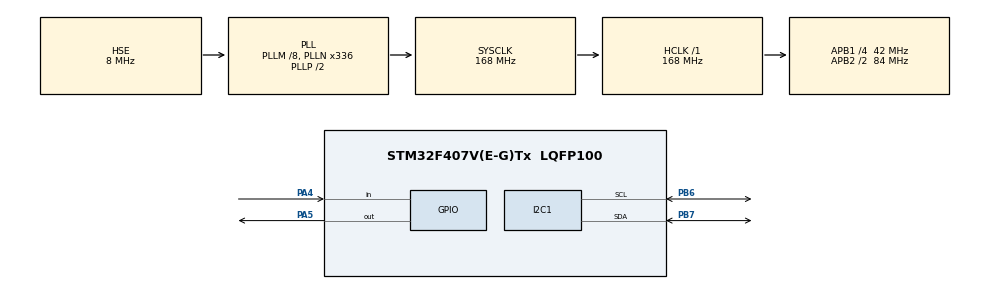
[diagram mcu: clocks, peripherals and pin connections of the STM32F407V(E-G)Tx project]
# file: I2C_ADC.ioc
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I2C1.I2C_Mode=I2C_Fast
Mcu.Family=STM32F4
Mcu.Name=STM32F407V(E-G)Tx
Mcu.Package=LQFP100
NVIC.PriorityGroup=NVIC_PRIORITYGROUP_0
PA13.Mode=Serial_Wire
PA13.Signal=SYS_JTMS-SWDIO
PA14.Mode=Serial_Wire
PA14.Signal=SYS_JTCK-SWCLK
PA4.Signal=GPIO_Input
PA5.Signal=GPIO_Output
PB6.Mode=I2C
PB6.Signal=I2C1_SCL
PB7.Mode=I2C
PB7.Signal=I2C1_SDA
PH0-OSC_IN.Mode=HSE-External-Oscillator
PH0-OSC_IN.Signal=RCC_OSC_IN
PH1-OSC_OUT.Mode=HSE-External-Oscillator
PH1-OSC_OUT.Signal=RCC_OSC_OUT
ProjectManager.HeapSize=0x200
ProjectManager.StackSize=0x400
ProjectManager.TargetToolchain=STM32CubeIDE
RCC.48MHZClocksFreq_Value=48000000
RCC.AHBFreq_Value=168000000
RCC.APB1CLKDivider=RCC_HCLK_DIV4
RCC.APB1Freq_Value=42000000
RCC.APB1TimFreq_Value=84000000
RCC.APB2CLKDivider=RCC_HCLK_DIV2
RCC.APB2Freq_Value=84000000
RCC.APB2TimFreq_Value=168000000
RCC.CortexFreq_Value=168000000
RCC.HCLKFreq_Value=168000000
RCC.HSE_VALUE=8000000
RCC.HSI_VALUE=16000000
RCC.LSE_VALUE=32768
RCC.PLLM=8
RCC.PLLN=336
RCC.PLLQ=7
RCC.PLLSourceVirtual=RCC_PLLSOURCE_HSE
RCC.SYSCLKFreq_VALUE=168000000
RCC.SYSCLKSource=RCC_SYSCLKSOURCE_PLLCLK
RCC.VCOOutputFreq_Value=336000000
board=STM32F407G-DISC1

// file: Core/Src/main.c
/* USER CODE BEGIN Header */
/**
  ******************************************************************************
  * @file           : main.c
  * @brief          : Main program body
  ******************************************************************************
  * @attention
  *
  * Copyright (c) 2023 STMicroelectronics.
  * All rights reserved.
  *
  * This software is licensed under terms that can be found in the LICENSE file
  * in the root directory of this software component.
  * If no LICENSE file comes with this software, it is provided AS-IS.
  *
  ******************************************************************************
  */
/* USER CODE END Header */
#include "main.h"

/* USER CODE BEGIN Includes */
#include "ssd1306.h"
#include "fonts.h"
#include "test.h"
/* USER CODE END Includes */

I2C_HandleTypeDef hi2c1;

/* USER CODE BEGIN PV */
uint16_t distance=0;
char string[25];

/* USER CODE END PV */

void SystemClock_Config(void);
static void MX_GPIO_Init(void);
static void MX_I2C1_Init(void);

/* USER CODE BEGIN 0 */
void delayUS(uint32_t time){
	uint32_t newtime=time*168;
	while(newtime--);
}
float hcsrRead(){
	uint32_t time=0;
	float tempDistance=0;
	HAL_GPIO_WritePin(GPIOA, GPIO_PIN_5,GPIO_PIN_RESET);
	delayUS(10);
	HAL_GPIO_WritePin(GPIOA, GPIO_PIN_5,GPIO_PIN_SET);
	delayUS(10);
	HAL_GPIO_WritePin(GPIOA, GPIO_PIN_5,GPIO_PIN_RESET);
	delayUS(10);
	while(!(HAL_GPIO_ReadPin(GPIOA, GPIO_PIN_4)));
	while(HAL_GPIO_ReadPin(GPIOA, GPIO_PIN_4)){

		time++;
		delayUS(1);
	}
	tempDistance=(float) time/8 ;
	//tempDistance=tempDistance*4;
	if(tempDistance>400)tempDistance=400;
	//if(tempDistance<2)tempDistance=2;
	return tempDistance;

}

/* USER CODE END 0 */

int main(void)
{

  /* MCU Configuration--------------------------------------------------------*/

  /* Reset of all peripherals, Initializes the Flash interface and the Systick. */
  HAL_Init();

  /* Configure the system clock */
  SystemClock_Config();

  /* Initialize all configured peripherals */
  MX_GPIO_Init();
  MX_I2C1_Init();
  /* USER CODE BEGIN 2 */
  SSD1306_Init();

  /* USER CODE END 2 */

  /* Infinite loop */
  while (1)
  {

    /* USER CODE BEGIN 3 */
	  distance=(uint16_t)hcsrRead();
	  HAL_Delay(300);
	  SSD1306_Clear();
	  SSD1306_GotoXY(30, 0);//kordinat
	  SSD1306_Puts("Mesafe",&Font_11x18,1);
	  SSD1306_DrawLine(0, 20, 128, 20, 1);
	  SSD1306_GotoXY(30, 28);
	  itoa(distance,string,10);
	  SSD1306_Puts(string,&Font_11x18, 1);
	  SSD1306_GotoXY(60, 28);
	  SSD1306_Puts("=cm",&Font_11x18, 1);
	  SSD1306_DrawLine(0, 48, 128, 48, 1);

	  SSD1306_GotoXY(0, 50);
	  SSD1306_Puts("Omer Faruk Yavuz",&Font_7x10, 1);

	  SSD1306_UpdateScreen();
	  HAL_Delay(1000);

  }
  /* USER CODE END 3 */
}

void SystemClock_Config(void)
{
  RCC_OscInitTypeDef RCC_OscInitStruct = {0};
  RCC_ClkInitTypeDef RCC_ClkInitStruct = {0};

  /** Configure the main internal regulator output voltage
  */
  __HAL_RCC_PWR_CLK_ENABLE();
  __HAL_PWR_VOLTAGESCALING_CONFIG(PWR_REGULATOR_VOLTAGE_SCALE1);

  /** Initializes the RCC Oscillators according to the specified parameters
  * in the RCC_OscInitTypeDef structure.
  */
  RCC_OscInitStruct.OscillatorType = RCC_OSCILLATORTYPE_HSE;
  RCC_OscInitStruct.HSEState = RCC_HSE_ON;
  RCC_OscInitStruct.PLL.PLLState = RCC_PLL_ON;
  RCC_OscInitStruct.PLL.PLLSource = RCC_PLLSOURCE_HSE;
  RCC_OscInitStruct.PLL.PLLM = 8;
  RCC_OscInitStruct.PLL.PLLN = 336;
  RCC_OscInitStruct.PLL.PLLP = RCC_PLLP_DIV2;
  RCC_OscInitStruct.PLL.PLLQ = 7;
  if (HAL_RCC_OscConfig(&RCC_OscInitStruct) != HAL_OK)
  {
    Error_Handler();
  }

  /** Initializes the CPU, AHB and APB buses clocks
  */
  RCC_ClkInitStruct.ClockType = RCC_CLOCKTYPE_HCLK|RCC_CLOCKTYPE_SYSCLK
                              |RCC_CLOCKTYPE_PCLK1|RCC_CLOCKTYPE_PCLK2;
  RCC_ClkInitStruct.SYSCLKSource = RCC_SYSCLKSOURCE_PLLCLK;
  RCC_ClkInitStruct.AHBCLKDivider = RCC_SYSCLK_DIV1;
  RCC_ClkInitStruct.APB1CLKDivider = RCC_HCLK_DIV4;
  RCC_ClkInitStruct.APB2CLKDivider = RCC_HCLK_DIV2;

  if (HAL_RCC_ClockConfig(&RCC_ClkInitStruct, FLASH_LATENCY_5) != HAL_OK)
  {
    Error_Handler();
  }
}

static void MX_I2C1_Init(void)
{

  hi2c1.Instance = I2C1;
  hi2c1.Init.ClockSpeed = 400000;
  hi2c1.Init.DutyCycle = I2C_DUTYCYCLE_2;
  hi2c1.Init.OwnAddress1 = 0;
  hi2c1.Init.AddressingMode = I2C_ADDRESSINGMODE_7BIT;
  hi2c1.Init.DualAddressMode = I2C_DUALADDRESS_DISABLE;
  hi2c1.Init.OwnAddress2 = 0;
  hi2c1.Init.GeneralCallMode = I2C_GENERALCALL_DISABLE;
  hi2c1.Init.NoStretchMode = I2C_NOSTRETCH_DISABLE;
  if (HAL_I2C_Init(&hi2c1) != HAL_OK)
  {
    Error_Handler();
  }

}

static void MX_GPIO_Init(void)
{
  GPIO_InitTypeDef GPIO_InitStruct = {0};

  /* GPIO Ports Clock Enable */
  __HAL_RCC_GPIOH_CLK_ENABLE();
  __HAL_RCC_GPIOA_CLK_ENABLE();
  __HAL_RCC_GPIOB_CLK_ENABLE();

  /*Configure GPIO pin Output Level */
  HAL_GPIO_WritePin(GPIOA, GPIO_PIN_5, GPIO_PIN_RESET);

  /*Configure GPIO pin : PA4 */
  GPIO_InitStruct.Pin = GPIO_PIN_4;
  GPIO_InitStruct.Mode = GPIO_MODE_INPUT;
  GPIO_InitStruct.Pull = GPIO_NOPULL;
  HAL_GPIO_Init(GPIOA, &GPIO_InitStruct);

  /*Configure GPIO pin : PA5 */
  GPIO_InitStruct.Pin = GPIO_PIN_5;
  GPIO_InitStruct.Mode = GPIO_MODE_OUTPUT_PP;
  GPIO_InitStruct.Pull = GPIO_NOPULL;
  GPIO_InitStruct.Speed = GPIO_SPEED_FREQ_LOW;
  HAL_GPIO_Init(GPIOA, &GPIO_InitStruct);

}

void Error_Handler(void)
{
  __disable_irq();
  while (1)
  {
  }
}
